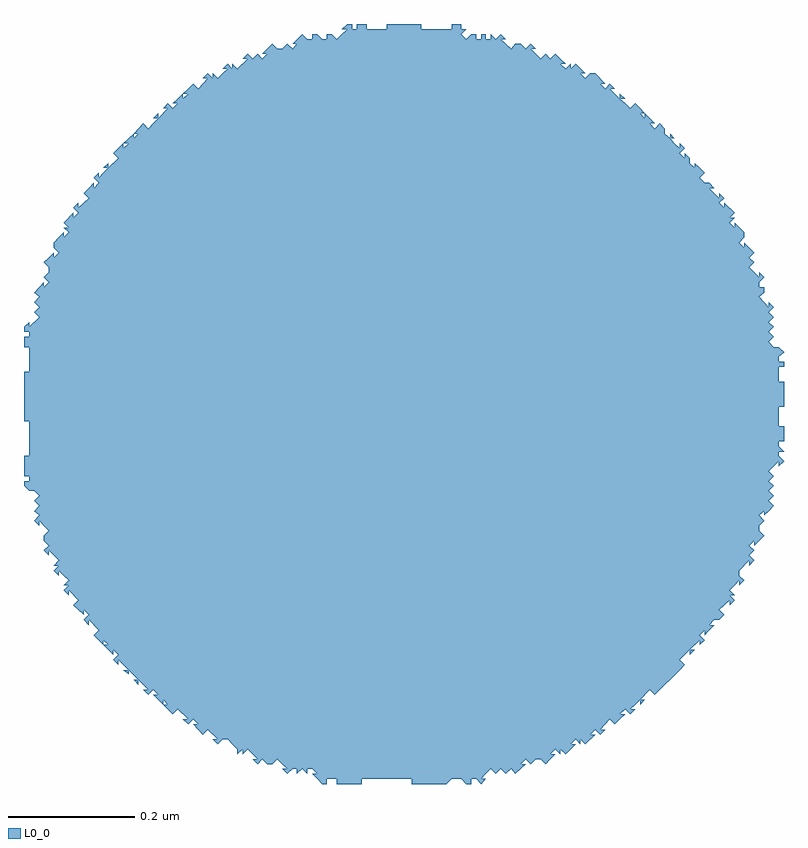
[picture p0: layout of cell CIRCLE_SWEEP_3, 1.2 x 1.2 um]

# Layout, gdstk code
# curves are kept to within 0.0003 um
import gdstk
lib = gdstk.Library(unit=1e-6, precision=1e-09)
def P(c, l, *ps):  # polygons
    for p in ps: c.add(gdstk.Polygon(p, *l))
L0_0 = (0, 0)

circle_sweep_3 = lib.new_cell('CIRCLE_SWEEP_3')
P(circle_sweep_3, L0_0, [(-0.122,-0.592),(-0.106,-0.592),(-0.106,-0.6),(-0.067,-0.6),(-0.067,-0.592),(0.012,-0.592),(0.012,-0.6),(0.067,-0.6),(0.075,-0.592),(0.09,-0.592),(0.098,-0.6),(0.106,-0.6),(0.106,-0.592),(0.114,-0.592),(0.122,-0.6),(0.129,-0.592),(0.122,-0.592),(0.129,-0.584),(-0.145,-0.584),(-0.129,-0.6),(-0.122,-0.6)],
  [(0.137,-0.576),(0.145,-0.584),(0.153,-0.576),(0.161,-0.584),(0.169,-0.576),(0.176,-0.584),(0.184,-0.576),(0.192,-0.569),(-0.192,-0.569),(-0.184,-0.576),(-0.192,-0.576),(-0.184,-0.584),(-0.176,-0.576),(-0.169,-0.576),(-0.169,-0.584),(-0.161,-0.576),(-0.153,-0.584),(-0.153,-0.576),(-0.145,-0.576),(-0.137,-0.584),(0.129,-0.584)],
  [(-0.255,-0.545),(-0.263,-0.545),(-0.263,-0.553)],
  [(-0.247,-0.545),(-0.255,-0.545),(-0.255,-0.553)],
  [(0.192,-0.561),(0.2,-0.569),(0.208,-0.561),(0.216,-0.561),(0.224,-0.569),(0.231,-0.561),(0.239,-0.553),(0.231,-0.553),(0.239,-0.545),(-0.247,-0.545),(-0.231,-0.561),(-0.239,-0.561),(-0.231,-0.569),(-0.224,-0.561),(-0.216,-0.569),(-0.208,-0.569),(-0.2,-0.561),(-0.192,-0.569),(0.184,-0.569)],
  [(0.247,-0.545),(0.239,-0.545),(0.247,-0.553)],
  [(0.263,-0.545),(0.247,-0.545),(0.255,-0.553)],
  [(-0.31,-0.514),(-0.325,-0.514),(-0.318,-0.522)],
  [(0.271,-0.537),(0.263,-0.537),(0.271,-0.529),(0.278,-0.537),(0.278,-0.529),(0.286,-0.537),(0.302,-0.522),(0.294,-0.522),(0.302,-0.514),(-0.31,-0.514),(-0.294,-0.529),(-0.302,-0.529),(-0.294,-0.537),(-0.286,-0.529),(-0.278,-0.529),(-0.271,-0.537),(-0.263,-0.545),(0.263,-0.545)],
  [(0.318,-0.514),(0.302,-0.514),(0.31,-0.522)],
  [(-0.357,-0.482),(-0.373,-0.482),(-0.365,-0.49)],
  [(0.325,-0.498),(0.333,-0.506),(0.349,-0.49),(0.341,-0.49),(0.349,-0.482),(-0.357,-0.482),(-0.341,-0.498),(-0.349,-0.498),(-0.341,-0.506),(-0.333,-0.498),(-0.325,-0.506),(-0.333,-0.506),(-0.325,-0.514),(0.31,-0.514)],
  [(0.365,-0.482),(0.349,-0.482),(0.357,-0.49)],
  [(-0.42,-0.435),(-0.427,-0.435),(-0.42,-0.443)],
  [(0.365,-0.475),(0.373,-0.467),(0.373,-0.475),(0.38,-0.467),(0.373,-0.467),(0.388,-0.451),(0.396,-0.459),(0.42,-0.435),(-0.42,-0.435),(-0.404,-0.451),(-0.412,-0.451),(-0.404,-0.459),(-0.396,-0.451),(-0.388,-0.459),(-0.396,-0.459),(-0.38,-0.475),(-0.38,-0.467),(-0.373,-0.475),(-0.38,-0.475),(-0.373,-0.482),(0.357,-0.482)],
  [(-0.459,-0.388),(-0.467,-0.388),(-0.459,-0.396)],
  [(0.435,-0.42),(0.443,-0.412),(0.435,-0.404),(0.451,-0.388),(-0.459,-0.388),(-0.451,-0.396),(-0.459,-0.404),(-0.451,-0.412),(-0.451,-0.404),(-0.435,-0.42),(-0.443,-0.42),(-0.435,-0.427),(-0.435,-0.42),(-0.42,-0.435),(0.42,-0.435)],
  [(0.459,-0.388),(0.451,-0.388),(0.451,-0.396)],
  [(-0.498,-0.341),(-0.506,-0.341),(-0.498,-0.349)],
  [(0.467,-0.373),(0.467,-0.38),(0.475,-0.373),(0.467,-0.365),(0.475,-0.357),(0.475,-0.365),(0.482,-0.357),(0.49,-0.349),(0.482,-0.349),(0.49,-0.341),(-0.498,-0.341),(-0.482,-0.357),(-0.49,-0.365),(-0.475,-0.38),(-0.475,-0.373),(-0.467,-0.38),(-0.475,-0.38),(-0.467,-0.388),(0.451,-0.388)],
  [(0.506,-0.333),(0.498,-0.325),(0.514,-0.31),(0.514,-0.318),(0.522,-0.31),(0.514,-0.302),(0.522,-0.302),(0.514,-0.294),(0.522,-0.286),(-0.529,-0.286),(-0.537,-0.294),(-0.529,-0.302),(-0.529,-0.294),(-0.514,-0.31),(-0.522,-0.318),(-0.514,-0.325),(-0.506,-0.333),(-0.506,-0.325),(-0.498,-0.333),(-0.506,-0.341),(0.498,-0.341)],
  [(-0.561,-0.231),(-0.569,-0.231),(-0.561,-0.239)],
  [(0.529,-0.278),(0.529,-0.286),(0.537,-0.278),(0.529,-0.271),(0.529,-0.263),(0.545,-0.247),(0.545,-0.255),(0.553,-0.247),(0.545,-0.239),(0.553,-0.231),(-0.561,-0.231),(-0.545,-0.247),(-0.553,-0.255),(-0.545,-0.255),(-0.553,-0.263),(-0.545,-0.271),(-0.545,-0.263),(-0.537,-0.271),(-0.529,-0.278),(-0.537,-0.286),(0.522,-0.286)],
  [(0.545,-0.224),(0.553,-0.216),(0.553,-0.224),(0.569,-0.208),(0.561,-0.2),(0.561,-0.192),(0.569,-0.184),(0.561,-0.176),(0.569,-0.169),(-0.584,-0.169),(-0.576,-0.176),(-0.584,-0.184),(-0.576,-0.192),(-0.576,-0.184),(-0.569,-0.192),(-0.561,-0.2),(-0.569,-0.208),(-0.569,-0.216),(-0.561,-0.224),(-0.569,-0.231),(0.553,-0.231)],
  [(0.576,-0.169),(0.569,-0.169),(0.569,-0.176)],
  [(0.584,-0.161),(0.576,-0.153),(0.584,-0.145),(0.576,-0.137),(0.584,-0.129),(0.576,-0.122),(0.584,-0.114),(0.576,-0.106),(0.584,-0.098),(-0.6,-0.098),(-0.6,-0.114),(-0.592,-0.114),(-0.592,-0.122),(-0.6,-0.122),(-0.6,-0.129),(-0.592,-0.137),(-0.584,-0.137),(-0.576,-0.145),(-0.584,-0.153),(-0.576,-0.161),(-0.584,-0.169),(0.576,-0.169)],
  [(0.592,-0.09),(0.592,-0.098),(0.6,-0.09),(0.592,-0.082),(0.592,-0.075),(0.6,-0.075),(0.592,-0.067),(0.592,-0.059),(0.6,-0.059),(0.6,-0.035),(0.592,-0.035),(0.592,-0.027),(-0.592,-0.027),(-0.592,-0.082),(-0.6,-0.082),(-0.6,-0.098),(0.584,-0.098)],
  [(0.592,-0.004),(0.6,-0.004),(0.6,0.035),(0.592,0.035),(0.592,0.051),(-0.6,0.051),(-0.6,-0.027),(0.592,-0.027)],
  [(0.592,0.059),(0.6,0.059),(0.6,0.067),(0.592,0.067),(0.592,0.075),(0.6,0.082),(0.592,0.09),(0.584,0.09),(0.576,0.098),(0.584,0.106),(0.576,0.114),(0.584,0.122),(-0.6,0.122),(-0.6,0.114),(-0.592,0.114),(-0.592,0.106),(-0.6,0.106),(-0.6,0.09),(-0.592,0.09),(-0.592,0.051),(0.592,0.051)],
  [(0.576,0.129),(0.584,0.137),(0.576,0.145),(0.584,0.153),(0.576,0.161),(0.576,0.153),(0.569,0.161),(0.561,0.169),(0.569,0.176),(0.569,0.184),(-0.576,0.184),(-0.584,0.176),(-0.576,0.169),(-0.584,0.161),(-0.576,0.153),(-0.584,0.145),(-0.576,0.137),(-0.592,0.122),(-0.592,0.129),(-0.6,0.122),(0.584,0.122)],
  [(0.561,0.192),(0.569,0.2),(0.561,0.208),(0.561,0.2),(0.545,0.216),(0.553,0.224),(0.545,0.231),(0.553,0.239),(0.545,0.247),(-0.553,0.247),(-0.545,0.239),(-0.553,0.231),(-0.553,0.239),(-0.561,0.231),(-0.569,0.224),(-0.561,0.216),(-0.561,0.208),(-0.569,0.2),(-0.561,0.192),(-0.569,0.184),(-0.569,0.192),(-0.576,0.184),(0.561,0.184)],
  [(0.537,0.255),(0.537,0.247),(0.529,0.255),(0.537,0.263),(0.537,0.271),(0.522,0.286),(0.522,0.278),(0.514,0.286),(0.522,0.294),(0.514,0.294),(0.522,0.302),(-0.514,0.302),(-0.522,0.294),(-0.522,0.302),(-0.537,0.286),(-0.529,0.278),(-0.537,0.278),(-0.529,0.271),(-0.537,0.263),(-0.537,0.271),(-0.553,0.255),(-0.553,0.247),(0.545,0.247)],
  [(0.506,0.318),(0.506,0.31),(0.498,0.318),(0.506,0.325),(0.498,0.333),(0.498,0.325),(0.482,0.341),(0.49,0.341),(0.482,0.349),(-0.482,0.349),(-0.49,0.341),(-0.49,0.349),(-0.506,0.333),(-0.498,0.325),(-0.514,0.31),(-0.514,0.318),(-0.522,0.31),(-0.514,0.302),(0.522,0.302)],
  [(0.467,0.357),(0.475,0.365),(0.467,0.373),(0.459,0.38),(0.459,0.373),(0.451,0.38),(0.451,0.388),(0.443,0.396),(0.443,0.388),(0.435,0.396),(0.443,0.404),(-0.451,0.404),(-0.459,0.396),(-0.451,0.388),(-0.467,0.373),(-0.467,0.38),(-0.475,0.373),(-0.467,0.373),(-0.475,0.365),(-0.482,0.357),(-0.482,0.365),(-0.49,0.357),(-0.482,0.349),(0.475,0.349)],
  [(0.435,0.412),(0.435,0.404),(0.427,0.412),(0.42,0.42),(0.427,0.42),(0.42,0.427),(0.42,0.42),(0.412,0.427),(0.412,0.435),(0.404,0.443),(0.396,0.435),(0.388,0.443),(-0.396,0.443),(-0.404,0.435),(-0.412,0.443),(-0.42,0.435),(-0.427,0.427),(-0.42,0.427),(-0.427,0.42),(-0.427,0.427),(-0.435,0.42),(-0.443,0.412),(-0.435,0.412),(-0.443,0.404),(-0.443,0.412),(-0.451,0.404),(0.443,0.404)],
  [(0.38,0.459),(0.38,0.451),(0.373,0.459),(0.38,0.459),(0.373,0.467),(0.365,0.475),(0.357,0.467),(0.349,0.475),(0.341,0.482),(-0.357,0.482),(-0.365,0.475),(-0.357,0.475),(-0.365,0.467),(-0.373,0.475),(-0.38,0.467),(-0.373,0.467),(-0.388,0.451),(-0.388,0.459),(-0.396,0.451),(-0.388,0.451),(-0.396,0.443),(0.396,0.443)],
  [(0.341,0.49),(0.341,0.482),(0.325,0.498),(0.333,0.498),(0.325,0.506),(0.318,0.498),(0.31,0.506),(0.318,0.506),(0.302,0.522),(0.294,0.522),(0.286,0.514),(0.278,0.522),(-0.286,0.522),(-0.294,0.514),(-0.302,0.522),(-0.302,0.514),(-0.31,0.522),(-0.318,0.514),(-0.31,0.514),(-0.325,0.498),(-0.333,0.506),(-0.349,0.49),(-0.341,0.49),(-0.349,0.482),(-0.349,0.49),(-0.357,0.482),(0.349,0.482)],
  [(0.271,0.537),(0.263,0.529),(0.263,0.537),(0.255,0.529),(0.247,0.537),(0.255,0.537),(0.247,0.545),(-0.247,0.545),(-0.263,0.529),(-0.271,0.537),(-0.271,0.529),(-0.278,0.537),(-0.286,0.529),(-0.278,0.529),(-0.286,0.522),(0.286,0.522)],
  [(0.239,0.553),(0.231,0.545),(0.224,0.553),(0.216,0.545),(0.2,0.561),(0.208,0.561),(0.2,0.569),(0.192,0.561),(0.184,0.569),(0.176,0.569),(0.169,0.561),(0.161,0.569),(-0.169,0.569),(-0.176,0.561),(-0.184,0.569),(-0.192,0.561),(-0.2,0.561),(-0.208,0.569),(-0.224,0.553),(-0.216,0.553),(-0.224,0.545),(-0.231,0.553),(-0.239,0.545),(-0.247,0.553),(-0.255,0.545),(0.247,0.545)],
  [(0.153,0.576),(0.161,0.576),(0.153,0.584),(0.145,0.576),(0.137,0.584),(0.137,0.576),(0.129,0.576),(0.129,0.584),(0.122,0.584),(0.122,0.576),(0.114,0.576),(0.114,0.584),(0.106,0.584),(0.098,0.576),(0.09,0.584),(-0.098,0.584),(-0.106,0.576),(-0.114,0.584),(-0.122,0.584),(-0.122,0.576),(-0.129,0.576),(-0.137,0.584),(-0.145,0.584),(-0.145,0.576),(-0.153,0.576),(-0.161,0.584),(-0.176,0.569),(0.161,0.569)],
  [(0.098,0.592),(0.09,0.592),(0.09,0.6),(0.075,0.6),(0.075,0.592),(0.027,0.592),(0.027,0.6),(-0.027,0.6),(-0.027,0.592),(-0.059,0.592),(-0.059,0.6),(-0.075,0.6),(-0.075,0.592),(-0.082,0.592),(-0.082,0.6),(-0.09,0.6),(-0.098,0.592),(-0.09,0.592),(-0.098,0.584),(0.09,0.584)])

lib.write_gds('CIRCLE_SWEEP_3.gds')
